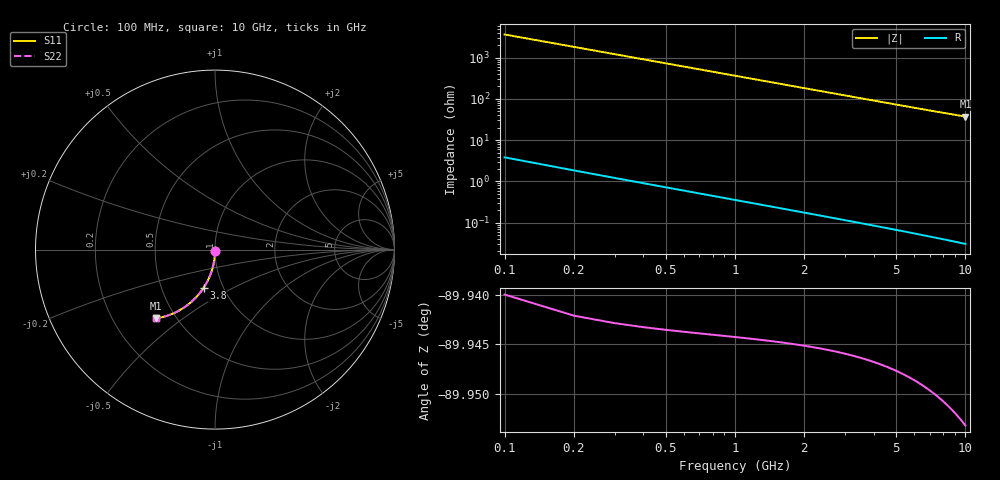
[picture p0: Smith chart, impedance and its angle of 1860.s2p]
# Hz S RI R 50.00
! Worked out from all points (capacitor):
!   100 points, 100 MHz to 10 GHz, reference 50 ohm
!   read as one part in shunt: C = 436 fF near 100 MHz
!   lowest |Z| = 37.3 ohm at 10 GHz (marker M1)
!   S11 on the Smith chart (normalised r, x): 100 MHz: 1.00, -0.01; 3.8 GHz: 0.81, -0.36; 10 GHz: 0.39, -0.40
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1e8  0.000169 -0.00599  0.9997 -0.00771  0.9997 -0.00771  0.000169 -0.00599
2e8  2.49e-05 -0.012  0.9996 -0.0154  0.9996 -0.0154  2.49e-05 -0.012
3e8  -0.000212 -0.018  0.9993 -0.0231  0.9993 -0.0231  -0.000212 -0.018
4e8  -0.000541 -0.024  0.999 -0.0308  0.999 -0.0308  -0.000541 -0.024
5e8  -0.000962 -0.0299  0.9985 -0.0385  0.9985 -0.0385  -0.000962 -0.0299
6e8  -0.00148 -0.0359  0.998 -0.0462  0.998 -0.0462  -0.00148 -0.0359
7e8  -0.00208 -0.0419  0.9974 -0.0539  0.9974 -0.0539  -0.00208 -0.0419
8e8  -0.00278 -0.0478  0.9967 -0.0616  0.9967 -0.0616  -0.00278 -0.0478
9e8  -0.00357 -0.0537  0.9959 -0.0692  0.9959 -0.0692  -0.00357 -0.0537
1.1e9  -0.00542 -0.0656  0.9939 -0.0845  0.9939 -0.0845  -0.00542 -0.0656
1.4e9  -0.00887 -0.0832  0.9904 -0.1072  0.9904 -0.1072  -0.00887 -0.0832
1.8e9  -0.0147 -0.1063  0.9843 -0.1373  0.9843 -0.1373  -0.0147 -0.1063
2.1e9  -0.02 -0.1233  0.9789 -0.1595  0.9789 -0.1595  -0.02 -0.1233
2.5e9  -0.0282 -0.1456  0.9704 -0.1887  0.9704 -0.1887  -0.0282 -0.1456
2.9e9  -0.0377 -0.1672  0.9605 -0.2172  0.9605 -0.2172  -0.0377 -0.1672
3.4e9  -0.0513 -0.1931  0.9464 -0.2518  0.9464 -0.2518  -0.0513 -0.1931
3.8e9  -0.0635 -0.2129  0.9339 -0.2786  0.9339 -0.2786  -0.0635 -0.2129
4.4e9  -0.0837 -0.2408  0.9129 -0.317  0.9129 -0.317  -0.0837 -0.2408
5.1e9  -0.1097 -0.2705  0.8858 -0.3591  0.8858 -0.3591  -0.1097 -0.2705
6.7e9  -0.1771 -0.3258  0.8156 -0.4428  0.8156 -0.4428  -0.1771 -0.3258
8.4e9  -0.255 -0.3645  0.7334 -0.5125  0.7334 -0.5125  -0.255 -0.3645
1e10  -0.3291 -0.3834  0.6545 -0.5611  0.6545 -0.5611  -0.3291 -0.3834
